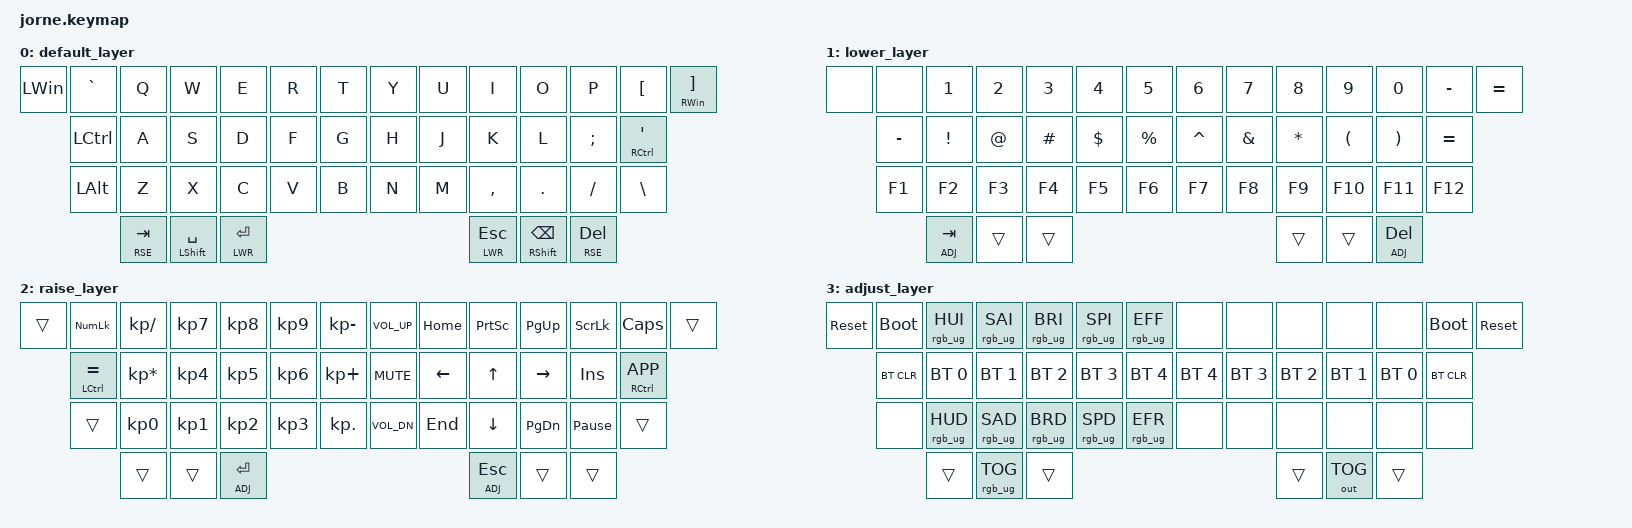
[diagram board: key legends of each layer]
/*
 * Copyright (c) 2020 The ZMK Contributors
 *
 * SPDX-License-Identifier: MIT
 */
#include <dt-bindings/led/led.h>
#include <behaviors.dtsi>
#include <dt-bindings/zmk/keys.h>
#include <dt-bindings/zmk/bt.h>
#include <dt-bindings/zmk/outputs.h>
#include <dt-bindings/zmk/rgb.h>


#define DEF 0
#define LWR 1
#define RSE 2
#define ADJ 3
&pinctrl {
        spi3_default: spi3_default {
                group1 {
                        psels = <NRF_PSEL(SPIM_MOSI, 1, 11)>;
                        };
                };

        spi3_sleep: spi3_sleep {
                group1 {
                        psels = <NRF_PSEL(SPIM_MOSI, 1, 11)>;
                        low-power-enable;
                };
        };
};

&spi3 {
  compatible = "nordic,nrf-spim";
  status = "okay";


  pinctrl-0 = <&spi3_default>;
  pinctrl-1 = <&spi3_sleep>;
  pinctrl-names = "default", "sleep";
  led_strip: ws2812@0 {
    compatible = "worldsemi,ws2812-spi";
    label = "WS2812";

    /* SPI */
    reg = <0>; /* ignored, but necessary for SPI bindings */
    spi-max-frequency = <4000000>;

    /* WS2812 */
    chain-length = <6>; /* number of LEDs */
    spi-one-frame = <0x70>;
    spi-zero-frame = <0x40>;
    color-mapping = <LED_COLOR_ID_GREEN
                          LED_COLOR_ID_RED
                          LED_COLOR_ID_BLUE>;
  };
};

/ {
    chosen {
		zmk,underglow = &led_strip;
	};

        keymap {
                compatible = "zmk,keymap";

                default_layer {
// -----------------------------------------------------------------------------------------
// |  GUI |   ~  |  Q  |  W  |  E  |  R  |  T  |   |  Y  |  U   |  I  |  O  |  P  |  [   | GUI/] |
//        | CTRL |  A  |  S  |  D  |  F  |  G  |   |  H  |  J   |  K  |  L  |  ;  |CTRL/'|
//        | LALT |  Z  |  X  |  C  |  V  |  B  |   |  N  |  M   |  ,  |  .  |  /  | RALT |
//                           | RSE | SPC | LWR |   | LWR | BKSP | RSE |
                        bindings = <
   &kp LWIN &kp GRAVE &kp Q &kp W &kp E &kp R &kp T &kp Y         &kp U  &kp I     &kp O   &kp P    &kp LBKT &mt RWIN RBKT
            &kp LCTRL &kp A &kp S &kp D &kp F &kp G &kp H         &kp J  &kp K     &kp L   &kp SEMI &mt RCTRL SQT
            &kp LALT  &kp Z &kp X &kp C &kp V &kp B &kp N         &kp M  &kp COMMA &kp DOT &kp FSLH &kp BSLH
                         &lt RSE TAB &mt LSHFT SPACE &lt LWR RET &lt LWR ESC &mt RSHFT BSPC &lt RSE DEL
                        >;
                };
                lower_layer {
// -----------------------------------------------------------------------------------------
// |     |     |  1  |  2  |  3  |  4  |  5  |   |  6  |  7  |  8  |  9  |  0  |  -_ |  =+ |
//       | -_  |  !  |  @  |  #  |  $  |  %  |   |  ^  |  &  |  *  |  (  |  )  |  =+ |
//       |  F1 |  F2 |  F3 |  F4 |  F5 |  F6 |   |  F7 |  F8 |  F9 | F10 | F11 | F12 |
//                         | GUI |     | SPC |   | ENT |     | ALT |
                        bindings = <
   &none  &none     &kp N1   &kp N2 &kp N3   &kp N4   &kp N5           &kp N6    &kp N7   &kp N8   &kp N9   &kp N0   &kp MINUS    &kp EQUAL    
          &kp MINUS &kp EXCL &kp AT &kp HASH &kp DLLR &kp PRCNT        &kp CARET &kp AMPS &kp STAR &kp LPAR &kp RPAR &kp EQUAL
          &kp F1    &kp F2   &kp F3 &kp F4   &kp F5   &kp F6           &kp F7    &kp F8   &kp F9   &kp F10  &kp F11  &kp F12
                                    &lt ADJ TAB &trans &trans          &trans &trans &lt ADJ DEL
                        >;
                };

                raise_layer {
// -----------------------------------------------------------------------------------------
// |     | NMLK |  /  |  7  |  8  |  9  |  -  |   | VOLU| HOME| PRSC| PGUP| SCLK| CLCK|     |
//       | CTRL |  *  |  4  |  5  |  6  |  +  |   | MUT | LEFT|  UP | RGHT| INS | APP |
//       |      |  0  |  1  |  2  |  3  |  .  |   | VOLD| END | DOWN| PGDN| PAUS|     |
//                          |     |     | ADJ |   | ADJ |     |     |
                        bindings = <
   &trans &kp KP_NUM      &kp KP_SLASH    &kp KP_N7 &kp KP_N8 &kp KP_N9 &kp KP_MINUS        &kp C_VOL_UP &kp HOME &kp PSCRN &kp PG_UP &kp SLCK &kp CAPS &trans
          &mt LCTRL EQUAL &kp KP_MULTIPLY &kp KP_N4 &kp KP_N5 &kp KP_N6 &kp KP_PLUS         &kp C_MUTE   &kp LEFT &kp UP    &kp RIGHT &kp INS  &mt RCTRL K_APP
          &trans          &kp KP_N0       &kp KP_N1 &kp KP_N2 &kp KP_N3 &kp KP_DOT          &kp C_VOL_DN &kp END  &kp DOWN  &kp PG_DN &kp PAUSE_BREAK &trans
                                                           &trans &trans &lt ADJ RET        &lt ADJ ESC &trans &trans
                        >;
                };
                adjust_layer {
// -----------------------------------------------------------------------------------------
// | RST | BLDR | HI  | SI  | BI  | PI  | EF  |   |     |     |     |     |     | BLDR | RST |
//       | BTCLR| BT0 | BT1 | BT2 | BT3 | BT4 |   | BT4 | BT3 | BT2 | BT1 | BT0 | BTCLR|
//       |      | HD  | SD  | BD  | PD  | ER  |   |     |     |     |     |     |      |
//                          |     | RGB |     |   |     | OUT |     |
                        bindings = <
   &sys_reset &bootloader  &rgb_ug RGB_HUI        &rgb_ug RGB_SAI        &rgb_ug RGB_BRI        &rgb_ug RGB_SPI        &rgb_ug RGB_EFF              &none        &none        &none        &none        &none         &bootloader &sys_reset
          &bt BT_CLR   &bt BT_SEL 0 &bt BT_SEL 1 &bt BT_SEL 2 &bt BT_SEL 3 &bt BT_SEL 4       &bt BT_SEL 4 &bt BT_SEL 3 &bt BT_SEL 2 &bt BT_SEL 1 &bt BT_SEL 0  &bt BT_CLR
          &none        &rgb_ug RGB_HUD        &rgb_ug RGB_SAD        &rgb_ug RGB_BRD        &rgb_ug RGB_SPD        &rgb_ug RGB_EFR              &none        &none        &none        &none        &none         &none
                                                                    &trans &rgb_ug RGB_TOG &trans   &trans &out OUT_TOG &trans
                        >;
                };
        };
};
